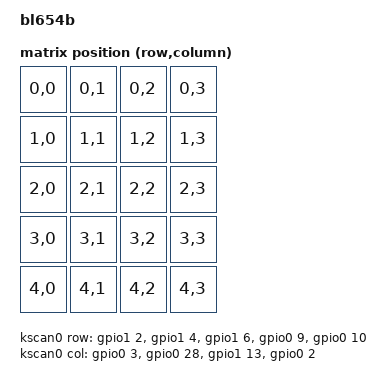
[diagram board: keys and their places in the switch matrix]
/*
 * Copyright (c) 2021 Nick Winans
 *
 * SPDX-License-Identifier: MIT
 */

/dts-v1/;
#include <nordic/nrf52840_qiaa.dtsi>
#include <dt-bindings/zmk/matrix_transform.h>
#include <dt-bindings/led/led.h>
#include <dt-bindings/zmk/ext_power.h>
#include <common/nordic/nrf52840_uf2_boot_mode.dtsi>

#include "bl654b-pinctrl.dtsi"
#include "bl654b_layouts.dtsi"

/ {
	model = "bl654b";
	compatible = "bmk,bl654b";

	chosen {
		zephyr,code-partition = &code_partition;
		zephyr,sram = &sram0;
		zephyr,flash = &flash0;
		zmk,kscan = &kscan0;
		//zmk,matrix_transform = &default_transform;
		//zmk,backlight = &backlight;
		//zmk,underglow = &led_strip;
		zmk,battery = &vbatt;
		//zephyr,display = &st7789;
		zephyr,display = &nice_view;
		//zmk,physical-layout = &layout_bl654b;
	};

	default_transform: keymap_transform_0 {
		compatible = "zmk,matrix-transform";
		columns = <4>;
		rows = <5>;
		map = <
RC(0,0) RC(0,1) RC(0,2) RC(0,3) 
RC(1,0) RC(1,1) RC(1,2) RC(1,3) 
RC(2,0) RC(2,1) RC(2,2) RC(2,3)
RC(3,0) RC(3,1) RC(3,2) RC(3,3) 
RC(4,0) RC(4,1) RC(4,2) RC(4,3)
		>;
	};

	kscan0: kscan {
		compatible = "zmk,kscan-gpio-matrix";
		diode-direction = "row2col";
		wakeup-source;
		row-gpios
			= <&gpio1 2 GPIO_ACTIVE_HIGH>
			, <&gpio1 4 GPIO_ACTIVE_HIGH>
			, <&gpio1 6 GPIO_ACTIVE_HIGH>
			, <&gpio0 9 GPIO_ACTIVE_HIGH>
			, <&gpio0 10 GPIO_ACTIVE_HIGH>
			;
		col-gpios
			= <&gpio0 3 (GPIO_ACTIVE_HIGH | GPIO_PULL_DOWN)>
			, <&gpio0 28 (GPIO_ACTIVE_HIGH | GPIO_PULL_DOWN)>
			, <&gpio1 13 (GPIO_ACTIVE_HIGH | GPIO_PULL_DOWN)>
			, <&gpio0 2 (GPIO_ACTIVE_HIGH | GPIO_PULL_DOWN)>
			;
	};

	
/*
	backlight: pwmleds {
		compatible = "pwm-leds";
		pwm_led_0 {
			pwms = <&pwm0 0 PWM_MSEC(10) PWM_POLARITY_NORMAL>;
		}; 
};

*/

	vbatt: vbatt {
		compatible = "zmk,battery-nrf-vddh";
	};
};

/*
&pwm0 {
    status = "okay";
    pinctrl-0 = <&pwm0_default>;
    pinctrl-1 = <&pwm0_sleep>;
    pinctrl-names = "default", "sleep";
};
*/

&adc {
	status = "okay";
};

&reg0 {
    status = "okay";
};

&reg1 {
    regulator-initial-mode = <NRF5X_REG_MODE_DCDC>;
};

&gpiote {
	status = "okay";
};

&gpio0 {
	status = "okay";
};

&gpio1 {
	status = "okay";
};

/*
nice_view_spi: &spi0 {
    compatible = "nordic,nrf-spim";
    pinctrl-0 = <&spi0_default>;
    pinctrl-1 = <&spi0_sleep>;
    pinctrl-names = "default", "sleep";
    cs-gpios = <&gpio0 16  GPIO_ACTIVE_HIGH>;
};

&nice_view_spi {
    status = "okay";
    nice_view: ls0xx@0 {
        compatible = "sharp,ls0xx";
        spi-max-frequency = <1000000>;
        reg = <0>;
        width = <160>;
        height = <68>;
    };
};
*/


/*
disp_spi: &spi3 {
    pinctrl-0 = <&spi3_default>;
    pinctrl-1 = <&spi3_sleep>;
    pinctrl-names = "default", "sleep";
    cs-gpios = <&gpio0 16  GPIO_ACTIVE_LOW>;
    status = "okay";
	
    st7789: st7789v@0 {
        compatible = "sitronix,st7789v";
        reg = <0>; 
        spi-max-frequency = <1000000>;
		mipi-mode = "MIPI_DBI_MODE_SPI_4WIRE"; 
        dc-gpios = <&gpio0 19 GPIO_ACTIVE_LOW>;
        reset-gpios = <&gpio0 15 GPIO_ACTIVE_LOW>;
        width = <284>;
        height = <76>;
        x-offset = <18>;
        y-offset = <82>;
		vcom = <0x19>;
		gctrl = <0x35>;
		vrhs = <0x12>;
		vdvs = <0x20>;
		mdac = <0x60>;
		gamma = <0x01>;
		colmod = <0x05>;    
		lcm = <0x2c>;
		porch-param = [0c 0c 00 33 33];
		cmd2en-param = [5a 69 02 01];
		pwctrl1-param = [A4 A1];
		pvgam-param = [D0 04 0D 11 13 2B 3F 54 4C 18 0D 0B 1F 23];
		nvgam-param = [D0 04 0C 11 13 2C 3F 44 51 2F 1F 1F 20 23];
		ram-param = [00 F0];
		rgb-param = [CD 08 14];
    };
};
*/

nice_view_spi: &spi3 {
    compatible = "nordic,nrf-spim";
    pinctrl-0 = <&spi3_default>;
    pinctrl-1 = <&spi3_sleep>;
    pinctrl-names = "default", "sleep";
    cs-gpios = <&gpio0 16  GPIO_ACTIVE_HIGH>;
};

&nice_view_spi {
    status = "okay";
    nice_view: ls0xx@0 {
        compatible = "sharp,ls0xx";
        spi-max-frequency = <1000000>;
        reg = <0>;
        width = <160>;
        height = <68>;
    };
};



zephyr_udc0: &usbd {
    status = "okay";
};



&flash0 {
	/*
	 * For more information, see:
	 * http://docs.zephyrproject.org/latest/devices/dts/flash_partitions.html
	 */
	partitions {
		compatible = "fixed-partitions";
		#address-cells = <1>;
		#size-cells = <1>;

		sd_partition: partition@0 {
			reg = <0x00000000 0x00001000>;
		};

		code_partition: partition@1000 {
			reg = <0x00001000 0x000d3000>;
		};

		/*
		 * The flash starting at 0x000d4000 and ending at
		 * 0x000f3fff is reserved for use by the application.
		 */

		/*
		 * Storage partition will be used by FCB/LittleFS/NVS
		 * if enabled.
		 */
		storage_partition: partition@d4000 {
			reg = <0x000d4000 0x00020000>;
		};

		boot_partition: partition@f4000 {
			reg = <0x000f4000 0x0000c000>;
		};
	};
};

&layout_bl654b {
    transform = <&default_transform>;
};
